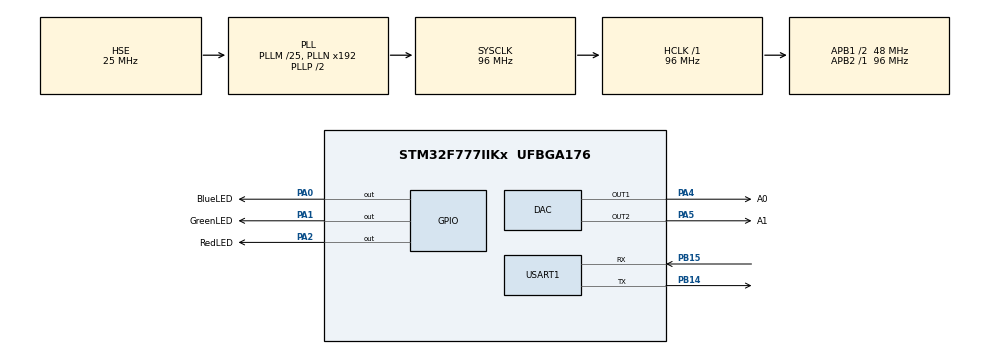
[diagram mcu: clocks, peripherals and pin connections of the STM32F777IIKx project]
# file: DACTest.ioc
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DAC.DAC_Trigger=DAC_TRIGGER_NONE
Mcu.Family=STM32F7
Mcu.Name=STM32F777IIKx
Mcu.Package=UFBGA176
NVIC.PriorityGroup=NVIC_PRIORITYGROUP_4
NVIC.TIM6_DAC_IRQn=true\:0\:0\:false\:false\:true\:true\:true
PA0/WKUP.GPIO_Label=BlueLED
PA0/WKUP.Signal=GPIO_Output
PA1.GPIO_Label=GreenLED
PA1.Signal=GPIO_Output
PA2.GPIO_Label=RedLED
PA2.Signal=GPIO_Output
PA4.GPIO_Label=A0
PA4.Signal=COMP_DAC1_group
PA5.GPIO_Label=A1
PA5.Signal=COMP_DAC2_group
PB14.Mode=Asynchronous
PB14.Signal=USART1_TX
PB15.Mode=Asynchronous
PB15.Signal=USART1_RX
PH0/OSC_IN.Mode=HSE-External-Oscillator
PH0/OSC_IN.Signal=RCC_OSC_IN
PH1/OSC_OUT.Mode=HSE-External-Oscillator
PH1/OSC_OUT.Signal=RCC_OSC_OUT
ProjectManager.HeapSize=0x200
ProjectManager.StackSize=0x400
ProjectManager.TargetToolchain=STM32CubeIDE
RCC.AHBFreq_Value=96000000
RCC.APB1CLKDivider=RCC_HCLK_DIV2
RCC.APB1Freq_Value=48000000
RCC.APB1TimFreq_Value=96000000
RCC.APB2Freq_Value=96000000
RCC.APB2TimFreq_Value=96000000
RCC.CortexFreq_Value=96000000
RCC.HCLKFreq_Value=96000000
RCC.HSE_VALUE=25000000
RCC.HSI_VALUE=16000000
RCC.LSE_VALUE=32768
RCC.PLLM=25
RCC.PLLSourceVirtual=RCC_PLLSOURCE_HSE
RCC.SYSCLKFreq_VALUE=96000000
RCC.SYSCLKSource=RCC_SYSCLKSOURCE_PLLCLK
RCC.USBFreq_Value=96000000
RCC.VCOOutputFreq_Value=192000000
SH.COMP_DAC1_group.0=DAC_OUT1,DAC_OUT1
SH.COMP_DAC2_group.0=DAC_OUT2,DAC_OUT2
USART1.VirtualMode-Asynchronous=VM_ASYNC
board=custom

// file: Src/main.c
/* USER CODE BEGIN Header */
/**
 ******************************************************************************
 * @file           : main.c
 * @brief          : Main program body
 ******************************************************************************
 * @attention
 *
 * <h2><center>&copy; Copyright (c) 2019 STMicroelectronics.
 * All rights reserved.</center></h2>
 *
 * This software component is licensed by ST under BSD 3-Clause license,
 * the "License"; You may not use this file except in compliance with the
 * License. You may obtain a copy of the License at:
 *                        opensource.org/licenses/BSD-3-Clause
 *
 ******************************************************************************
 */
/* USER CODE END Header */

#include "main.h"

DAC_HandleTypeDef hdac;

UART_HandleTypeDef huart1;

void SystemClock_Config(void);
static void MX_GPIO_Init(void);
static void MX_DAC_Init(void);
static void MX_USART1_UART_Init(void);

int main(void)
{

  /* MCU Configuration--------------------------------------------------------*/

  /* Reset of all peripherals, Initializes the Flash interface and the Systick. */
  HAL_Init();

  /* Configure the system clock */
  SystemClock_Config();

  /* Initialize all configured peripherals */
  MX_GPIO_Init();
  MX_DAC_Init();
  MX_USART1_UART_Init();
  /* USER CODE BEGIN 2 */

	if (HAL_DAC_Start(&hdac, DAC_CHANNEL_1) != HAL_OK)
	{
		/* Start Error */
		Error_Handler();
	}

	/*##-5- Set DAC channel1 DHR12RD register ################################################*/
	HAL_GPIO_WritePin(RedLED_GPIO_Port, RedLED_Pin, SET);
	HAL_GPIO_WritePin(GreenLED_GPIO_Port, GreenLED_Pin, SET);
	HAL_GPIO_WritePin(BlueLED_GPIO_Port, BlueLED_Pin, SET);

	int counter = 0;
	uint32_t incrementValue = 1;

	if (HAL_DAC_Start(&hdac, DAC_CHANNEL_1) != HAL_OK)
	{
		/* Start Error */
		Error_Handler();
	}
	if (HAL_DAC_Start(&hdac, DAC_CHANNEL_2) != HAL_OK)
	{
		/* Start Error */
		Error_Handler();
	}

  /* USER CODE END 2 */

  /* Infinite loop */
  /* USER CODE BEGIN WHILE */
	while (1)
	{
		if (counter > 4094)
		{
			incrementValue = -1;
		}
		if (counter < 0)
		{
			incrementValue = 1;
		}
		counter += incrementValue;
		int channel1 = counter;
		int channel2 = 4095 - counter;
		if (HAL_DAC_SetValue(&hdac, DAC_CHANNEL_1, DAC_ALIGN_12B_R, channel2) != HAL_OK)
		{
			/* Setting value Error */
			Error_Handler();
		}
		if (HAL_DAC_SetValue(&hdac, DAC_CHANNEL_2, DAC_ALIGN_12B_R, channel1) != HAL_OK)
		{
			/* Setting value Error */
			Error_Handler();
		}
//		HAL_Delay(1000);
//		HAL_GPIO_TogglePin(BlueLED_GPIO_Port, BlueLED_Pin);
    /* USER CODE END WHILE */

	}
}

void SystemClock_Config(void)
{
  RCC_OscInitTypeDef RCC_OscInitStruct = {0};
  RCC_ClkInitTypeDef RCC_ClkInitStruct = {0};
  RCC_PeriphCLKInitTypeDef PeriphClkInitStruct = {0};

  /** Configure the main internal regulator output voltage
  */
  __HAL_RCC_PWR_CLK_ENABLE();
  __HAL_PWR_VOLTAGESCALING_CONFIG(PWR_REGULATOR_VOLTAGE_SCALE3);
  /** Initializes the CPU, AHB and APB busses clocks
  */
  RCC_OscInitStruct.OscillatorType = RCC_OSCILLATORTYPE_HSE;
  RCC_OscInitStruct.HSEState = RCC_HSE_ON;
  RCC_OscInitStruct.PLL.PLLState = RCC_PLL_ON;
  RCC_OscInitStruct.PLL.PLLSource = RCC_PLLSOURCE_HSE;
  RCC_OscInitStruct.PLL.PLLM = 25;
  RCC_OscInitStruct.PLL.PLLN = 192;
  RCC_OscInitStruct.PLL.PLLP = RCC_PLLP_DIV2;
  RCC_OscInitStruct.PLL.PLLQ = 2;
  if (HAL_RCC_OscConfig(&RCC_OscInitStruct) != HAL_OK)
  {
    Error_Handler();
  }
  /** Activate the Over-Drive mode
  */
  if (HAL_PWREx_EnableOverDrive() != HAL_OK)
  {
    Error_Handler();
  }
  /** Initializes the CPU, AHB and APB busses clocks
  */
  RCC_ClkInitStruct.ClockType = RCC_CLOCKTYPE_HCLK|RCC_CLOCKTYPE_SYSCLK
                              |RCC_CLOCKTYPE_PCLK1|RCC_CLOCKTYPE_PCLK2;
  RCC_ClkInitStruct.SYSCLKSource = RCC_SYSCLKSOURCE_PLLCLK;
  RCC_ClkInitStruct.AHBCLKDivider = RCC_SYSCLK_DIV1;
  RCC_ClkInitStruct.APB1CLKDivider = RCC_HCLK_DIV2;
  RCC_ClkInitStruct.APB2CLKDivider = RCC_HCLK_DIV1;

  if (HAL_RCC_ClockConfig(&RCC_ClkInitStruct, FLASH_LATENCY_3) != HAL_OK)
  {
    Error_Handler();
  }
  PeriphClkInitStruct.PeriphClockSelection = RCC_PERIPHCLK_USART1;
  PeriphClkInitStruct.Usart1ClockSelection = RCC_USART1CLKSOURCE_PCLK2;
  if (HAL_RCCEx_PeriphCLKConfig(&PeriphClkInitStruct) != HAL_OK)
  {
    Error_Handler();
  }
}

static void MX_DAC_Init(void)
{

  DAC_ChannelConfTypeDef sConfig = {0};

  /** DAC Initialization
  */
  hdac.Instance = DAC;
  if (HAL_DAC_Init(&hdac) != HAL_OK)
  {
    Error_Handler();
  }
  /** DAC channel OUT1 config
  */
  sConfig.DAC_Trigger = DAC_TRIGGER_NONE;
  sConfig.DAC_OutputBuffer = DAC_OUTPUTBUFFER_ENABLE;
  if (HAL_DAC_ConfigChannel(&hdac, &sConfig, DAC_CHANNEL_1) != HAL_OK)
  {
    Error_Handler();
  }
  /** DAC channel OUT2 config
  */
  if (HAL_DAC_ConfigChannel(&hdac, &sConfig, DAC_CHANNEL_2) != HAL_OK)
  {
    Error_Handler();
  }

}

static void MX_USART1_UART_Init(void)
{

  huart1.Instance = USART1;
  huart1.Init.BaudRate = 115200;
  huart1.Init.WordLength = UART_WORDLENGTH_8B;
  huart1.Init.StopBits = UART_STOPBITS_1;
  huart1.Init.Parity = UART_PARITY_NONE;
  huart1.Init.Mode = UART_MODE_TX_RX;
  huart1.Init.HwFlowCtl = UART_HWCONTROL_NONE;
  huart1.Init.OverSampling = UART_OVERSAMPLING_16;
  huart1.Init.OneBitSampling = UART_ONE_BIT_SAMPLE_DISABLE;
  huart1.AdvancedInit.AdvFeatureInit = UART_ADVFEATURE_NO_INIT;
  if (HAL_UART_Init(&huart1) != HAL_OK)
  {
    Error_Handler();
  }

}

static void MX_GPIO_Init(void)
{
  GPIO_InitTypeDef GPIO_InitStruct = {0};

  /* GPIO Ports Clock Enable */
  __HAL_RCC_GPIOH_CLK_ENABLE();
  __HAL_RCC_GPIOA_CLK_ENABLE();
  __HAL_RCC_GPIOB_CLK_ENABLE();

  /*Configure GPIO pin Output Level */
  HAL_GPIO_WritePin(GPIOA, GreenLED_Pin|BlueLED_Pin|RedLED_Pin, GPIO_PIN_RESET);

  /*Configure GPIO pins : GreenLED_Pin BlueLED_Pin RedLED_Pin */
  GPIO_InitStruct.Pin = GreenLED_Pin|BlueLED_Pin|RedLED_Pin;
  GPIO_InitStruct.Mode = GPIO_MODE_OUTPUT_PP;
  GPIO_InitStruct.Pull = GPIO_NOPULL;
  GPIO_InitStruct.Speed = GPIO_SPEED_FREQ_LOW;
  HAL_GPIO_Init(GPIOA, &GPIO_InitStruct);

}

void Error_Handler(void)
{
}

/************************ (C) COPYRIGHT STMicroelectronics *****END OF FILE****/
